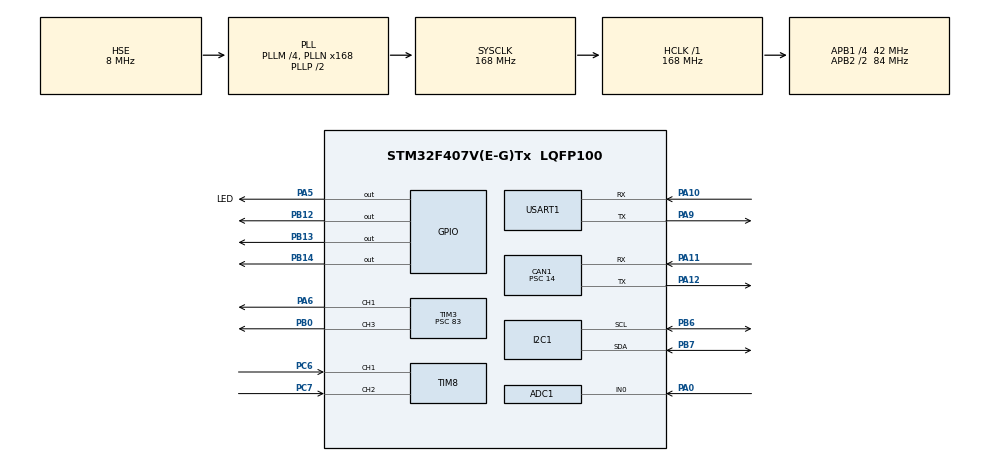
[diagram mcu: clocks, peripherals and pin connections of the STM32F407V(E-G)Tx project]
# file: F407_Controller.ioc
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ADC1.InjNumberOfConversion=0
ADC1.NbrOfConversion=1
ADC1.NbrOfConversionFlag=1
ADC1.Resolution=ADC_RESOLUTION_12B
ADC1.master=1
CAN1.ABOM=ENABLE
CAN1.BS1=CAN_BS1_9TQ
CAN1.BS2=CAN_BS2_2TQ
CAN1.CalculateBaudRate=249999
CAN1.CalculateTimeBit=4000
CAN1.CalculateTimeQuantum=333.33333333333337
CAN1.Mode=CAN_MODE_NORMAL
CAN1.NART=ENABLE
CAN1.Prescaler=14
FREERTOS.Tasks01=defaultTask,24,128,StartDefaultTask,Default,NULL,Dynamic,NULL,NULL
FREERTOS.configENABLE_FPU=1
Mcu.Family=STM32F4
Mcu.Name=STM32F407V(E-G)Tx
Mcu.Package=LQFP100
NVIC.CAN1_RX0_IRQn=true\:5\:0\:false\:false\:true\:true\:true\:true\:true
NVIC.PriorityGroup=NVIC_PRIORITYGROUP_4
NVIC.TIM2_IRQn=true\:5\:0\:false\:false\:true\:true\:true\:true\:true
PA0-WKUP.Signal=ADCx_IN0
PA10.Mode=Asynchronous
PA10.Signal=USART1_RX
PA11.Mode=CAN_Activate
PA11.Signal=CAN1_RX
PA12.Mode=CAN_Activate
PA12.Signal=CAN1_TX
PA13.Mode=Serial_Wire
PA13.Signal=SYS_JTMS-SWDIO
PA14.Mode=Serial_Wire
PA14.Signal=SYS_JTCK-SWCLK
PA5.GPIO_Label=LED
PA5.Signal=GPIO_Output
PA6.Signal=S_TIM3_CH1
PA9.Mode=Asynchronous
PA9.Signal=USART1_TX
PB0.Signal=S_TIM3_CH3
PB12.Signal=GPIO_Output
PB13.Signal=GPIO_Output
PB14.Signal=GPIO_Output
PB6.Mode=I2C
PB6.Signal=I2C1_SCL
PB7.Mode=I2C
PB7.Signal=I2C1_SDA
PC14-OSC32_IN.Mode=LSE-External-Oscillator
PC14-OSC32_IN.Signal=RCC_OSC32_IN
PC15-OSC32_OUT.Mode=LSE-External-Oscillator
PC15-OSC32_OUT.Signal=RCC_OSC32_OUT
PC6.Signal=S_TIM8_CH1
PC7.Signal=S_TIM8_CH2
PH0-OSC_IN.Mode=HSE-External-Oscillator
PH0-OSC_IN.Signal=RCC_OSC_IN
PH1-OSC_OUT.Mode=HSE-External-Oscillator
PH1-OSC_OUT.Signal=RCC_OSC_OUT
ProjectManager.HeapSize=0x200
ProjectManager.StackSize=0x400
ProjectManager.TargetToolchain=MDK-ARM V5.32
RCC.48MHZClocksFreq_Value=84000000
RCC.AHBFreq_Value=168000000
RCC.APB1CLKDivider=RCC_HCLK_DIV4
RCC.APB1Freq_Value=42000000
RCC.APB1TimFreq_Value=84000000
RCC.APB2CLKDivider=RCC_HCLK_DIV2
RCC.APB2Freq_Value=84000000
RCC.APB2TimFreq_Value=168000000
RCC.CortexFreq_Value=168000000
RCC.HCLKFreq_Value=168000000
RCC.HSE_VALUE=8000000
RCC.HSI_VALUE=16000000
RCC.PLLM=4
RCC.PLLN=168
RCC.PLLSourceVirtual=RCC_PLLSOURCE_HSE
RCC.SYSCLKFreq_VALUE=168000000
RCC.SYSCLKSource=RCC_SYSCLKSOURCE_PLLCLK
RCC.VCOOutputFreq_Value=336000000
SH.ADCx_IN0.0=ADC1_IN0,IN0
SH.S_TIM3_CH1.0=TIM3_CH1,PWM Generation1 CH1
SH.S_TIM3_CH3.0=TIM3_CH3,PWM Generation3 CH3
SH.S_TIM8_CH1.0=TIM8_CH1,Encoder_Interface
SH.S_TIM8_CH2.0=TIM8_CH2,Encoder_Interface
TIM2.Period=9999
TIM2.Prescaler=8399
TIM3.AutoReloadPreload=TIM_AUTORELOAD_PRELOAD_ENABLE
TIM3.Channel-PWM\ Generation1\ CH1=TIM_CHANNEL_1
TIM3.Channel-PWM\ Generation3\ CH3=TIM_CHANNEL_3
TIM3.Period=999
TIM3.Prescaler=83
TIM3.Pulse-PWM\ Generation1\ CH1=0
TIM8.EncoderMode=TIM_ENCODERMODE_TI12
TIM8.IC1Filter=8
TIM8.IC2Filter=8
USART1.VirtualMode=VM_ASYNC
VP_FREERTOS_VS_CMSIS_V2.Mode=CMSIS_V2
VP_TIM2_VS_ClockSourceINT.Mode=Internal
board=custom

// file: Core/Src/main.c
/* USER CODE BEGIN Header */
/**
  ******************************************************************************
  * @file           : main.c
  * @brief          : Main program body
  ******************************************************************************
  * @attention
  *
  * Copyright (c) 2026 STMicroelectronics.
  * All rights reserved.
  *
  * This software is licensed under terms that can be found in the LICENSE file
  * in the root directory of this software component.
  * If no LICENSE file comes with this software, it is provided AS-IS.
  *
  ******************************************************************************
  */
/* USER CODE END Header */
#include "main.h"
#include "cmsis_os.h"
#include "adc.h"
#include "can.h"
#include "i2c.h"
#include "tim.h"
#include "usart.h"
#include "gpio.h"

/* USER CODE BEGIN Includes */
#include "Int_aht20.h"
#include <stdio.h>
#include <string.h>
#include "Int_can.h"
#include "Int_motor.h"

/* USER CODE END Includes */

/* USER CODE BEGIN PV */
uint8_t can_test_data[8] =
{
    0x01,  /* ???PING */
    0x01,  /* ????1 */
    0x01,  /* ??????1 */
    0x00,  /* ?????? */
    0x00,  /* ?????? */
    0x00,  /* ???? */
    0x00,  /* ?? */
    0x03   /* ????01+01+01=03 */
};

volatile HAL_StatusTypeDef can_tx_status = HAL_ERROR;
volatile uint32_t can_tx_count = 0;

volatile uint32_t f407_rx_count = 0;
volatile uint32_t f407_last_id = 0;
volatile uint8_t  f407_last_dlc = 0;
volatile uint8_t  f407_last_data[8] = {0};
/* USER CODE END PV */

void SystemClock_Config(void);
void MX_FREERTOS_Init(void);

int main(void)
{

  /* MCU Configuration--------------------------------------------------------*/

  /* Reset of all peripherals, Initializes the Flash interface and the Systick. */
  HAL_Init();

  /* Configure the system clock */
  SystemClock_Config();

  /* Initialize all configured peripherals */
  MX_GPIO_Init();
  MX_USART1_UART_Init();
  MX_TIM2_Init();
  MX_TIM3_Init();
  MX_ADC1_Init();
  MX_I2C1_Init();
  MX_CAN1_Init();
  MX_TIM8_Init();
  /* USER CODE BEGIN 2 */
  if (INT_CAN_Start() != HAL_OK)
  {
      Error_Handler();
  }

  HAL_Delay(100);

  // can_tx_status =
  //     INT_CAN_SendStd(0x123, can_test_data, 8, 100);

  can_tx_count++;
  // AHT20_Status_t aht_status;
  // AHT20_Data_t aht_data;

  // aht_status = AHT20_Init();

  // if (aht_status == AHT20_OK)
  // {
  //     const char *msg = "AHT20 Init OK\r\n";

  //     HAL_UART_Transmit(&huart1,
  //                       (uint8_t *)msg,
  //                       strlen(msg),
  //                       1000);
  // }
  // else
  // {
  //     const char *msg = "AHT20 Init FAILED\r\n";

  //     HAL_UART_Transmit(&huart1,
  //                       (uint8_t *)msg,
  //                       strlen(msg),
  //                       1000);
  // }

  /* USER CODE END 2 */

  /* Init scheduler */
  osKernelInitialize();

  /* Call init function for freertos objects (in cmsis_os2.c) */
  MX_FREERTOS_Init();

  /* Start scheduler */
  osKernelStart();

  /* We should never get here as control is now taken by the scheduler */

  /* Infinite loop */
  while (1)
  {

  }
}

void SystemClock_Config(void)
{
  RCC_OscInitTypeDef RCC_OscInitStruct = {0};
  RCC_ClkInitTypeDef RCC_ClkInitStruct = {0};

  /** Configure the main internal regulator output voltage
  */
  __HAL_RCC_PWR_CLK_ENABLE();
  __HAL_PWR_VOLTAGESCALING_CONFIG(PWR_REGULATOR_VOLTAGE_SCALE1);

  /** Initializes the RCC Oscillators according to the specified parameters
  * in the RCC_OscInitTypeDef structure.
  */
  RCC_OscInitStruct.OscillatorType = RCC_OSCILLATORTYPE_HSE;
  RCC_OscInitStruct.HSEState = RCC_HSE_ON;
  RCC_OscInitStruct.PLL.PLLState = RCC_PLL_ON;
  RCC_OscInitStruct.PLL.PLLSource = RCC_PLLSOURCE_HSE;
  RCC_OscInitStruct.PLL.PLLM = 4;
  RCC_OscInitStruct.PLL.PLLN = 168;
  RCC_OscInitStruct.PLL.PLLP = RCC_PLLP_DIV2;
  RCC_OscInitStruct.PLL.PLLQ = 4;
  if (HAL_RCC_OscConfig(&RCC_OscInitStruct) != HAL_OK)
  {
    Error_Handler();
  }

  /** Initializes the CPU, AHB and APB buses clocks
  */
  RCC_ClkInitStruct.ClockType = RCC_CLOCKTYPE_HCLK|RCC_CLOCKTYPE_SYSCLK
                              |RCC_CLOCKTYPE_PCLK1|RCC_CLOCKTYPE_PCLK2;
  RCC_ClkInitStruct.SYSCLKSource = RCC_SYSCLKSOURCE_PLLCLK;
  RCC_ClkInitStruct.AHBCLKDivider = RCC_SYSCLK_DIV1;
  RCC_ClkInitStruct.APB1CLKDivider = RCC_HCLK_DIV4;
  RCC_ClkInitStruct.APB2CLKDivider = RCC_HCLK_DIV2;

  if (HAL_RCC_ClockConfig(&RCC_ClkInitStruct, FLASH_LATENCY_5) != HAL_OK)
  {
    Error_Handler();
  }
}

void Error_Handler(void)
{
  __disable_irq();
  while (1)
  {
  }
}

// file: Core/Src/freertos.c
/* USER CODE BEGIN Header */
/**
  ******************************************************************************
  * File Name          : freertos.c
  * Description        : Code for freertos applications
  ******************************************************************************
  * @attention
  *
  * Copyright (c) 2026 STMicroelectronics.
  * All rights reserved.
  *
  * This software is licensed under terms that can be found in the LICENSE file
  * in the root directory of this software component.
  * If no LICENSE file comes with this software, it is provided AS-IS.
  *
  ******************************************************************************
  */
/* USER CODE END Header */

#include "FreeRTOS.h"
#include "task.h"
#include "main.h"
#include "cmsis_os.h"

/* USER CODE BEGIN Includes */
#include "cmsis_os2.h"
#include <stdio.h>
#include <string.h>
#include <math.h>
#include "usart.h"
#include "App_data.h"
#include "adc.h"
#include "Int_aht20.h"
#include "tim.h"
#include "Int_motor.h"
#include "Int_Encoder.h"
#include "App_MotorCan.h"
#include <App_Fault.h>

/* USER CODE END Includes */

/* USER CODE BEGIN Variables */
osMessageQueueId_t SensorDataQueueHandle;/* 传感器数据队列句柄 */

/* USER CODE END Variables */
/* Definitions for defaultTask */
osThreadId_t defaultTaskHandle;
const osThreadAttr_t defaultTask_attributes = {
  .name = "defaultTask",
  .stack_size = 128 * 4,
  .priority = (osPriority_t) osPriorityNormal,
};

/* USER CODE BEGIN FunctionPrototypes */
// LED 任务
void LED_Task(void *argument);
// Debug 任务
void Debug_Task(void *argument);
// Sensor 任务
void Sensor_Task(void *argument);
// PWM 任务（已停用）
// void PWM_Test_Task(void *argument);
// CAN 电机控制任务
void App_MotorCan_ControlTask(void *argument);
/* USER CODE END FunctionPrototypes */

void StartDefaultTask(void *argument);

void MX_FREERTOS_Init(void); /* (MISRA C 2004 rule 8.1) */

void MX_FREERTOS_Init(void) {
  /* USER CODE BEGIN Init */

  const osMessageQueueAttr_t SensorDataQueue_attributes = {
    .name = "SensorDataQueue"
  };// 传感器数据队列属性

  SensorDataQueueHandle = osMessageQueueNew(
      8,
      sizeof(SensorData_t),
      &SensorDataQueue_attributes
  );// 创建传感器数据队列
  if (SensorDataQueueHandle == NULL)
  {
      /* 队列创建失败，可在此设置错误标志 */
  }

  const osThreadAttr_t sensorTask_attributes = {
      .name = "Sensor_Task",
      .stack_size = 768 * 4,
      .priority = (osPriority_t)osPriorityNormal
  };

  const osThreadAttr_t ledTask_attributes = {
    .name = "LED_Task",
    .stack_size = 256 * 4,
    .priority = (osPriority_t)osPriorityLow
  };

  const osThreadAttr_t debugTask_attributes = {
      .name = "Debug_Task",
      .stack_size = 768 * 4,
      .priority = (osPriority_t)osPriorityNormal
  };

  /* PWM_Test_Task 已停用，电机控制统一由 Motor_CAN_Control_Task 负责 */
  const osThreadAttr_t motorCanTask_attributes = {
        .name = "Motor_CAN",
        .stack_size = 1024 * 4,
        .priority = (osPriority_t)osPriorityHigh,
    };
  osThreadNew(App_MotorCan_ControlTask, NULL, &motorCanTask_attributes);
  osThreadNew(LED_Task, NULL, &ledTask_attributes);
  osThreadNew(Debug_Task, NULL, &debugTask_attributes);
  osThreadNew(Sensor_Task,NULL,&sensorTask_attributes);

  /* USER CODE END Init */

  /* Create the thread(s) */
  /* creation of defaultTask */
  defaultTaskHandle = osThreadNew(StartDefaultTask, NULL, &defaultTask_attributes);

}

void StartDefaultTask(void *argument)
{
  for(;;)
  {
    osDelay(1);
  }
}

/* USER CODE BEGIN Application */
void LED_Task(void *argument)
{
  (void)argument;

  for (;;)
  {
      HAL_GPIO_TogglePin(LED_GPIO_Port,
                          LED_Pin);

      osDelay(500);
  }
}
void Debug_Task(void *argument)
{
    SensorData_t data;
    char msg[160];

    (void)argument;

    for (;;)
    {
        /*
         * 等待传感器数据。
         * osWaitForever 表示没有数据时阻塞等待，
         * 而不是反复空转占用 CPU。
         */
        if (osMessageQueueGet(
                SensorDataQueueHandle,
                &data,
                NULL,
                osWaitForever) == osOK)
        {
            int len;

            if (data.aht20_valid != 0U)//
            {
                len = snprintf(
                    msg,
                    sizeof(msg),
                    "ADC=%lu V=%.3f T=%.2fC H=%.2f%%RH\r\n",
                    (unsigned long)data.adc_raw,
                    (double)data.adc_voltage,
                    (double)data.temperature,
                    (double)data.humidity
                );
            }
            else
            {
                len = snprintf(
                    msg,
                    sizeof(msg),
                    "ADC=%lu V=%.3f AHT20=ERROR\r\n",
                    (unsigned long)data.adc_raw,
                    (double)data.adc_voltage
                );
            }

            if (len > 0 && len < (int)sizeof(msg))
            {
                HAL_UART_Transmit(
                    &huart1,
                    (uint8_t *)msg,
                    (uint16_t)len,
                    1000
                );
            }
        }
    }
}

static uint8_t ADC_ReadRaw(uint32_t *value)
{
    if (value == NULL)
    {
        return 1U;
    }

    /* 启动一次 ADC 转换 */
    if (HAL_ADC_Start(&hadc1) != HAL_OK)
    {
        return 2U;
    }

    /* 等待转换完成，最多等待 100 ms */
    if (HAL_ADC_PollForConversion(&hadc1, 100) != HAL_OK)
    {
        HAL_ADC_Stop(&hadc1);
        return 3U;
    }

    /* 读取 12 位 ADC 原始值 */
    *value = HAL_ADC_GetValue(&hadc1);

    HAL_ADC_Stop(&hadc1);

    return 0U;
}

void Sensor_Task(void *argument)
{
    SensorData_t data;
    AHT20_Data_t aht;

    (void)argument;

    for (;;)
    {
        data.adc_raw = 0;
        data.adc_voltage = 0.0f;
        data.temperature = 0.0f;
        data.humidity = 0.0f;
        data.aht20_valid = 0U;

        /* 读取 PA0 对应的 ADC 通道 */
        if (ADC_ReadRaw(&data.adc_raw) == 0U)
        {
            data.adc_voltage =
                (float)data.adc_raw * 3.3f / 4095.0f;
        }

        /* 读取 AHT20 */
        if (AHT20_ReadData(&aht) == AHT20_OK)
        {
            data.temperature = aht.temperature;
            data.humidity = aht.humidity;
            data.aht20_valid = 1U;
        }

        /*
         * 这里使用 HAL_GetTick() 作为时间标记。
         * 后续如果增加多个时间源，需要统一时间基准。
         */
        data.timestamp_ms = HAL_GetTick();

        /*
         * 队列满时最多等待 10 ms。
         * 如果仍无法写入，就丢弃本次数据并继续下一轮。
         */
        (void)osMessageQueuePut(
            SensorDataQueueHandle,
            &data,
            0U,
            10U
        );

        osDelay(500);
    }
}

/* PID 参数定义 */
#define MOTOR_MAX_RPM       169.0f

/* 当前 Motor_CAN 使用本文件内联 PI；App_SpeedPID.c 尚未接入，阶段三统一。 */
/* 速度环增益与限幅 */
#define SPEED_PID_KP        10.0f
#define SPEED_PID_KI        1.0f

#define SPEED_PID_I_LIMIT   400.0f
#define SPEED_PID_PWM_MAX   1000.0f
#define SPEED_PID_DT        0.05f
/* 将 CAN 指令映射为 RPM，并由 PI 输出 PWM */
void App_MotorCan_ControlTask(void *argument)
{
    int16_t current_pwm = 0;
    int16_t can_speed = 0;

    uint32_t last_rx_tick;
    uint32_t print_cnt = 0;
    uint32_t last_loop_tick;

    float target_rpm = 0.0f;
    float previous_target_rpm = 0.0f;
    float actual_rpm = 0.0f;
    float error = 0.0f;
    float integral = 0.0f;
    float output = 0.0f;
    float dt = SPEED_PID_DT;

    char dbg_buf[128];

    (void)argument;

    Int_Motor_Init();
    Int_Encoder_Init();
    Int_Motor_Stop();

    last_loop_tick = HAL_GetTick();

    for (;;)
    {
        uint32_t now = HAL_GetTick();

        /* 计算本次控制周期 */
        uint32_t elapsed_ms = (uint32_t)(now - last_loop_tick);
        last_loop_tick = now;

        dt = (float)elapsed_ms / 1000.0f;

        /* 异常 dt 回退到固定周期 */
        if (dt < 0.01f || dt > 0.20f)
        {
            dt = SPEED_PID_DT;
        }

        last_rx_tick = App_MotorCan_GetLastRxTick();

        /* CAN 超时检查 */
        if (last_rx_tick == 0U ||
            (uint32_t)(now - last_rx_tick) > 500U)
        {
            can_speed = 0;
            target_rpm = 0.0f;

            App_Fault_Set(FAULT_CAN_TIMEOUT);
        }
        else
        {
            can_speed = App_MotorCan_GetTargetSpeed();

            App_Fault_Clear(FAULT_CAN_TIMEOUT);

            /* CAN 指令映射为目标 RPM */
            target_rpm =
                ((float)can_speed / 1000.0f) * MOTOR_MAX_RPM;
        }

        /* 读取编码器实际输出轴 RPM */
        actual_rpm = Int_Encoder_GetOutputRPM(dt);

        /* 目标大幅变化时重置积分，避免旧积分拖慢响应 */
        if (fabsf(target_rpm - previous_target_rpm) > 5.0f)
        {
            integral = 0.0f;
        }

        previous_target_rpm = target_rpm;

        /*
         * 目标为 0 时停止电机。
         * 同时清除积分和误差，避免下次启动带着旧积分。
         */
        if (target_rpm == 0.0f)
        {
            integral = 0.0f;
            error = 0.0f;
            output = 0.0f;
            current_pwm = 0;

            Int_Motor_Stop();
        }
        else
        {
            error = target_rpm - actual_rpm;

            /* PI 计算 */
            integral += error * dt;

            if (integral > SPEED_PID_I_LIMIT)
            {
                integral = SPEED_PID_I_LIMIT;
            }
            else if (integral < -SPEED_PID_I_LIMIT)
            {
                integral = -SPEED_PID_I_LIMIT;
            }

            output = SPEED_PID_KP * error
                   + SPEED_PID_KI * integral;

            /* PWM 限幅 */
            if (output > SPEED_PID_PWM_MAX)
            {
                output = SPEED_PID_PWM_MAX;
            }
            else if (output < -SPEED_PID_PWM_MAX)
            {
                output = -SPEED_PID_PWM_MAX;
            }

            current_pwm = (int16_t)output;

            Int_Motor_SetSpeed(current_pwm);
        }

        /* 每 10 次循环打印一次，约 500 ms */
        if ((print_cnt++ % 10U) == 0U)
        {
            int n = snprintf(
                dbg_buf,
                sizeof(dbg_buf),
                "TgtRPM=%.1f ActRPM=%.1f "
                "Err=%.1f I=%.1f PWM=%d\r\n",
                (double)target_rpm,
                (double)actual_rpm,
                (double)error,
                (double)integral,
                (int)current_pwm
            );

            if (n > 0 && n < (int)sizeof(dbg_buf))
            {
                HAL_UART_Transmit(
                    &huart1,
                    (uint8_t *)dbg_buf,
                    (uint16_t)n,
                    50
                );
            }
        }

        osDelay(50);
    }
}
/* USER CODE END Application */
